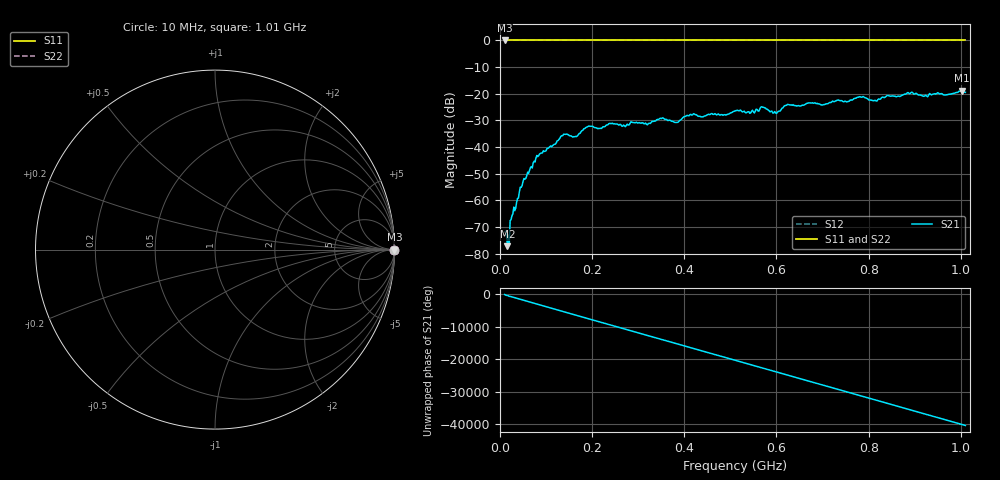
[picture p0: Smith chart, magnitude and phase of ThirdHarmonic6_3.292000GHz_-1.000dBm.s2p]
! 8/17/2025 10:14:31 AM
! C:\ANRITSUVNA\TEMP\TEMP.S2P
! CHANNEL.1
! TR.MEASUREMENT
! RAW.DATA
! RF.CORRECTION.OFF
! AVERAGING.OFF
! IF.BANDWIDTH: 5KHZ
! SWEEPTYPE:  FREQ.SWEEP(Linear)
! Reference Plane Port Info
! PORT:  PORT1  PORT2
! DISTANCE:  0  m  0  m
! TIME:  0  s  0  s
! PHASE.OFFSET:  0  deg.  0  deg.
! LOSS:  0  dB  0  dB
! REF.LOSS:  0  dB  0  dB
! REF.FREQ:  0  Hz  0  Hz
! Power Info
! POWER:  -20  dBm  -20  dBm
! EFF.POWER:  -20  dBm  -20  dBm
! SOURCE.ATTEN:  0  dB  0  dB
! TEST.ATTEN:  0  dB  0  dB
# GHZ S RI R 50.0
! FREQ.GHZ  S11RE  S11IM  S21RE  S21IM  S12RE  S12IM  S22RE  S22IM
!; PortSelection: Port_12
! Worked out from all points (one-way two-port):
!   501 points, 10 MHz to 1.01 GHz, reference 50 ohm
!   highest |S21| = -18.91 dB at 1.002 GHz (marker M1); lowest = -77.2 dB at 16 MHz (marker M2)
!   lowest |S11| = 0.0 dB at 10 MHz (marker M3)
!   |S11| at or under -10 dB: nowhere
!   |S22| runs from 0.0 to 0.0 dB; largest |S21 - S12| = 1.1
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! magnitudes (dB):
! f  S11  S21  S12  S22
! 10 MHz  0.0  -71.9  0.0  0.0
! 16 MHz  0.0  -77.2  0.0  0.0
! 20 MHz  0.0  -76.6  0.0  0.0
! 26 MHz  0.0  -65.8  0.0  0.0
! 48 MHz  0.0  -54.5  0.0  0.0
! 82 MHz  0.0  -43.6  0.0  0.0
! 136 MHz  0.0  -35.8  0.0  0.0
! 162 MHz  0.0  -36.2  0.0  0.0
! 178 MHz  0.0  -33.9  0.0  0.0
! 344 MHz  0.0  -29.7  0.0  0.0
! 382 MHz  0.0  -30.8  0.0  0.0
! 416 MHz  0.0  -28.0  0.0  0.0
! 510 MHz  0.0  -26.5  0.0  0.0
! 570 MHz  0.0  -25.1  0.0  0.0
! 596 MHz  0.0  -26.7  0.0  0.0
! 622 MHz  0.0  -24.3  0.0  0.0
! 678 MHz  0.0  -23.4  0.0  0.0
! 784 MHz  0.0  -21.3  0.0  0.0
! 814 MHz  0.0  -22.5  0.0  0.0
! 844 MHz  0.0  -20.8  0.0  0.0
! 1.002 GHz  0.0  -18.9  0.0  0.0
! 1.01 GHz  0.0  -19.5  0.0  0.0
